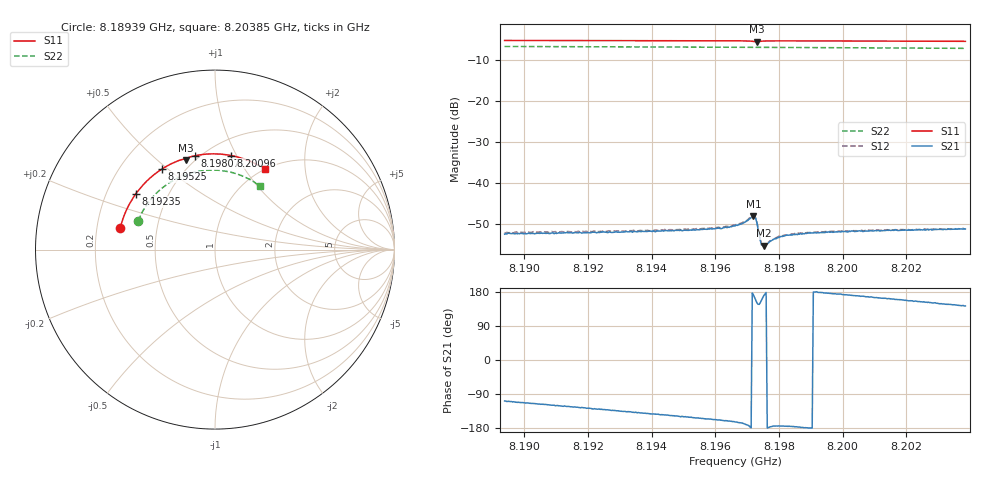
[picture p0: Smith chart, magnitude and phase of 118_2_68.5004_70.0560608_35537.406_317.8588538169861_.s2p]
#  HZ  S  RI  R  50.00
! Rohde & Schwarz Vector Network Analyzer
! Rohde-Schwarz,ZNB20-2Port,1311601062101988,3.16
! Created: UTC 3/20/2024, 5:08:59 PM
! freq[Hz]  re:S11  im:S11  re:S21  im:S21  re:S12  im:S12  re:S22  im:S22
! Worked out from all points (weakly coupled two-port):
!   401 points, 8.18939 GHz to 8.20385 GHz, reference 50 ohm
!   highest |S21| = -48.19 dB at 8.1972 GHz (marker M1); lowest = -55.3 dB at 8.19752 GHz (marker M2)
!   lowest |S11| = -5.6 dB at 8.19731 GHz (marker M3), VSWR 3.19, Z = 22.8 + j31.2 ohm
!   |S11| at or under -10 dB: nowhere
!   |S22| runs from -7.3 to -6.8 dB; largest |S21 - S12| = 0.0002
!   S11 on the Smith chart (normalised r, x): 8.18939 GHz: 0.30, +0.10; 8.19235 GHz: 0.33, +0.29; 8.19525 GHz: 0.38, +0.48; 8.19807 GHz: 0.47, +0.69; 8.20096 GHz: 0.65, +0.95; 8.20385 GHz: 1.00, +1.24
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8.189387e9  -0.527 0.1228  -0.000737 -0.00225  -0.000813 -0.00232  -0.428 0.1608
8.19181e9  -0.4619 0.2795  -0.0014 -0.00199  -0.00155 -0.00203  -0.3601 0.2767
8.192353e9  -0.4409 0.3111  -0.00156 -0.00192  -0.00169 -0.00189  -0.3405 0.2996
8.194234e9  -0.3512 0.408  -0.00208 -0.00153  -0.00216 -0.00149  -0.2609 0.3679
8.195246e9  -0.2937 0.4504  -0.00231 -0.00128  -0.00244 -0.00122  -0.2118 0.3965
8.196223e9  -0.2328 0.4836  -0.0026 -0.000996  -0.00274 -0.000929  -0.1615 0.418
8.19662e9  -0.2061 0.4947  -0.00285 -0.000835  -0.00297 -0.000773  -0.1402 0.4249
8.196874e9  -0.1878 0.5007  -0.00313 -0.000709  -0.00327 -0.000577  -0.1264 0.4286
8.197127e9  -0.1674 0.5033  -0.00376 -6.47e-05  -0.00381 0.000108  -0.1124 0.4319
8.197199e9  -0.1618 0.5012  -0.00385 0.000556  -0.00391 0.000745  -0.1084 0.4327
8.197271e9  -0.1599 0.4977  -0.0034 0.00137  -0.00338 0.00154  -0.1045 0.4334
8.197308e9  -0.1606 0.4973  -0.00284 0.00158  -0.00283 0.0017  -0.1025 0.4338
8.197416e9  -0.1604 0.5032  -0.00174 0.000943  -0.00174 0.00103  -0.0967 0.4352
8.197452e9  -0.1585 0.5057  -0.00162 0.00065  -0.00165 0.000786  -0.0948 0.4356
8.197525e9  -0.1535 0.5097  -0.00169 0.000298  -0.00166 0.000326  -0.0907 0.4363
8.19785e9  -0.1293 0.5189  -0.00206 -0.000204  -0.00208 -0.000102  -0.0726 0.4393
8.198067e9  -0.1136 0.5227  -0.00221 -0.000231  -0.00223 -0.000126  -0.0603 0.4408
8.198465e9  -0.0853 0.5277  -0.00234 -0.000185  -0.00238 -3.57e-05  -0.0379 0.4426
8.199044e9  -0.0443 0.5323  -0.00244 -1.96e-05  -0.00247 9.09e-05  -0.00497 0.443
8.20096e9  0.0909 0.524  -0.00249 0.000656  -0.00253 0.000803  0.1029 0.4271
8.201467e9  0.1258 0.5162  -0.00252 0.000817  -0.00249 0.000957  0.1304 0.4187
8.203854e9  0.2796 0.4479  -0.00218 0.00165  -0.00213 0.00174  0.2509 0.3536
